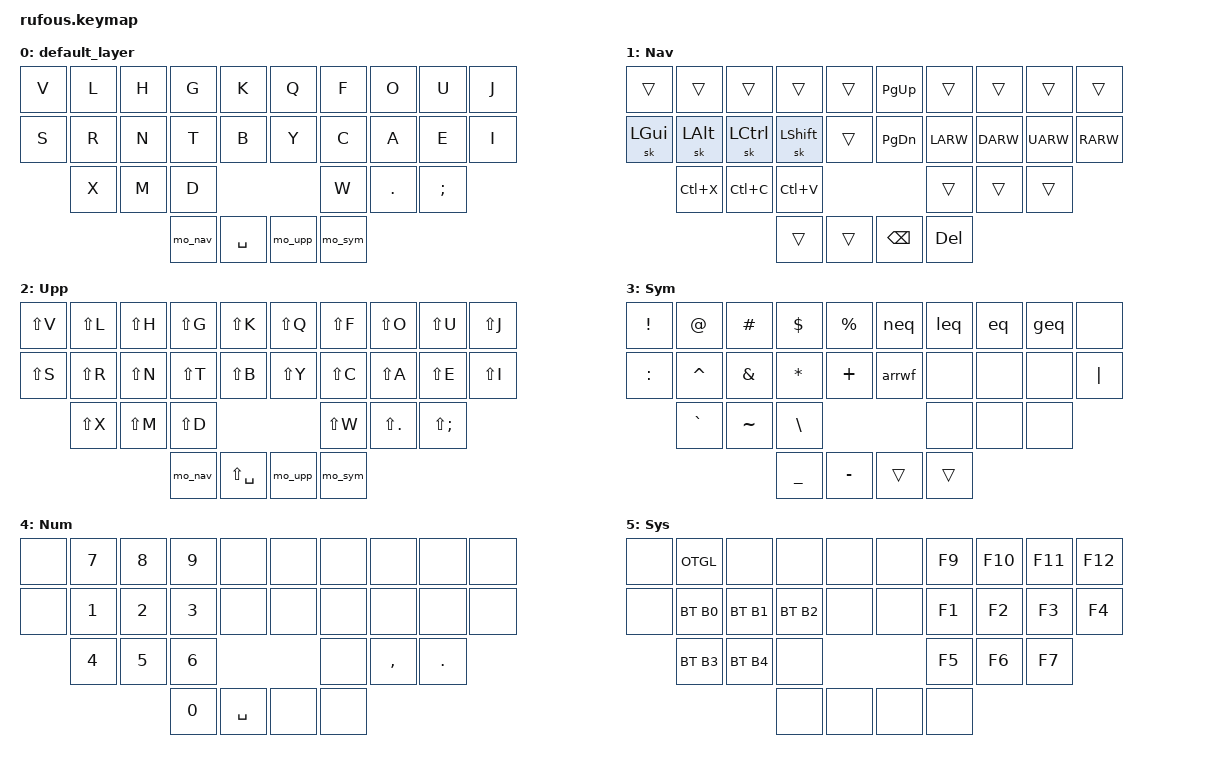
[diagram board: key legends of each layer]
/*
 * Copyright (c) 2020 The ZMK Contributors
 *
 * SPDX-License-Identifier: MIT
 */

#include <behaviors.dtsi>
#include <dt-bindings/zmk/bt.h>
#include <dt-bindings/zmk/ext_power.h>
#include <dt-bindings/zmk/keys.h>
#include <dt-bindings/zmk/outputs.h>

#define DEF_L 0
#define NAV_L 1
#define UPP_L 2
#define SYM_L 3
#define NUM_L 4
#define SYS_L 5

#define B0     BT_SEL 0
#define B1     BT_SEL 1
#define B2     BT_SEL 2
#define B3     BT_SEL 3
#define B4     BT_SEL 4
#define OTGL   out OUT_TOG

&caps_word {
  continue-list = <UNDERSCORE MINUS BACKSPACE>;
};

&sk {
  release-after-ms = <60000>;
};

/ {
    ZMK_MACRO(mo_nav,
        wait-ms = <0>;
        tap-ms = <0>;
        bindings
        = <&macro_tap &kp K_CANCEL>
        , <&macro_press &mo NAV_L>
        , <&macro_pause_for_release>
        , <&macro_release &mo NAV_L>;)

    ZMK_MACRO(mo_upp,
        wait-ms = <0>;
        tap-ms = <0>;
        bindings
        = <&macro_tap &kp K_CANCEL>
        , <&macro_press &mo UPP_L>
        , <&macro_pause_for_release>
        , <&macro_release &mo UPP_L>;)

    ZMK_MACRO(mo_sym,
        wait-ms = <0>;
        tap-ms = <0>;
        bindings
        = <&macro_tap &kp K_CANCEL>
        , <&macro_press &mo SYM_L>
        , <&macro_pause_for_release>
        , <&macro_release &mo SYM_L>;)

    ZMK_MACRO(mo_sys,
        wait-ms = <0>;
        tap-ms = <0>;
        bindings
        = <&macro_tap &kp K_CANCEL>
        , <&macro_press &mo SYS_L>
        , <&macro_pause_for_release>
        , <&macro_release &mo SYS_L>;)

    ZMK_MACRO(leq,
        wait-ms = <30>;
        tap-ms = <40>;
        bindings = <&kp LT &kp EQUAL>;)

    ZMK_MACRO(eq,
        wait-ms = <30>;
        tap-ms = <40>;
        bindings = <&kp EQUAL &kp EQUAL>;)

    ZMK_MACRO(geq,
        wait-ms = <30>;
        tap-ms = <40>;
        bindings = <&kp GT &kp EQUAL>;)

    ZMK_MACRO(neq,
        wait-ms = <30>;
        tap-ms = <40>;
        bindings = <&kp EXCL &kp EQUAL>;)

    ZMK_MACRO(arrwf,
        wait-ms = <30>;
        tap-ms = <40>;
        bindings = <&kp EQUAL &kp GT>;)

    ZMK_MACRO(wclip,
        wait-ms = <30>;
        tap-ms = <40>;
        bindings
        = <&macro_press &kp LGUI>
        , <&macro_press &kp LSHFT>
        , <&macro_press &kp S>
        , <&macro_release &kp LGUI &kp LSHFT &kp S>;)

    combos {
        compatible = "zmk,combos";

        #define COMBO(NAME, BINDINGS, KEYPOS, LAYERS) \
          combo_##NAME { \
            bindings = <BINDINGS>; \
            key-positions = <KEYPOS>; \
            layers = <LAYERS>; \
          };
        /*                KEY POSITIONS

          ╭────────────────────╮ ╭────────────────────╮
          │  0   1   2   3   4 | |  5   6   7   8   9 │
          │ 10  11  12  13  14 │ │ 15  16  17  18  19 │
          │     20  21  22     │ │     23  24  25     │
          ╰───────────╮ 26  27 │ │ 28  89 ╭───────────╯
                      ╰────────╯ ╰────────╯            */
        // Letters
        COMBO(lower_z, &kp Z, 20 21, DEF_L)
        COMBO(upper_z, &kp LS(Z), 20 21, UPP_L)

        COMBO(lower_p, &kp P, 21 22, DEF_L)
        COMBO(upper_p, &kp LS(P), 21 22, UPP_L)

        COMBO(lower_sqt, &kp SQT, 23 24, DEF_L)
        COMBO(upper_sqt, &kp LS(SQT), 23 24, UPP_L)

        COMBO(lower_comma, &kp COMMA, 24 25, DEF_L)
        COMBO(upper_comma, &kp LS(COMMA), 24 25, UPP_L)

        COMBO(equal, &kp EQUAL, 21 22, SYM_L)

        COMBO(f_eight, &kp F8, 24 25, SYS_L)

        // Brackets
        COMBO(left_bracket, &kp LBKT, 1 11, DEF_L UPP_L SYM_L NUM_L)
        COMBO(right_bracket, &kp RBKT, 8 18, DEF_L UPP_L SYM_L NUM_L)
        COMBO(left_parenthesis, &kp LPAR, 2 12, DEF_L UPP_L SYM_L NUM_L)
        COMBO(right_parenthesis, &kp RPAR, 7 17, DEF_L UPP_L SYM_L NUM_L)
        COMBO(left_brace, &kp LBRC, 3 13, DEF_L UPP_L SYM_L NUM_L)
        COMBO(right_brace, &kp RBRC, 6 16, DEF_L UPP_L SYM_L NUM_L)

        // Convenience
        COMBO(esc, &kp ESC, 2 3, DEF_L)
        COMBO(ent, &kp ENTER, 17 18, DEF_L)
        COMBO(tab, &kp TAB, 13 14, DEF_L)
        COMBO(w_clip, &wclip, 11 12 13, DEF_L)

        COMBO(sys_l, &mo_sys, 26 27, NUM_L)
    };

    conditional_layers {
        compatible = "zmk,conditional-layers";
        tri_layer {
            if-layers = <UPP_L SYM_L>;
            then-layer = <NUM_L>;
        };
    };

    keymap {
        compatible = "zmk,keymap";

        default_layer {
            bindings = <
        // ╭─────────────┬─────────────┬─────────────┬─────────────┬─────────────╮   ╭─────────────┬─────────────┬─────────────┬─────────────┬─────────────╮
             &kp V         &kp L         &kp H         &kp G         &kp K             &kp Q         &kp F         &kp O         &kp U         &kp J
             &kp S         &kp R         &kp N         &kp T         &kp B             &kp Y         &kp C         &kp A         &kp E         &kp I
                           &kp X         &kp M         &kp D                                         &kp W         &kp DOT       &kp SEMI
        // ╰─────────────┴─────────────┴─────────────╮                                                           ╭─────────────┴─────────────┴─────────────╯
                                                       &mo_nav       &kp SPACE         &mo_upp       &mo_sym
        //                                           ╰─────────────┴─────────────╯   ╰─────────────┴─────────────╯
            >;
        };

        nav_layer {
            label = "Nav";
            bindings = <
        // ╭─────────────┬─────────────┬─────────────┬─────────────┬─────────────╮   ╭─────────────┬─────────────┬─────────────┬─────────────┬─────────────╮
             &trans        &trans        &trans        &trans        &trans            &kp PG_UP     &trans        &trans        &trans        &trans
             &sk LGUI      &sk LALT      &sk LCTRL     &sk LSHFT     &trans            &kp PG_DN     &kp LARW      &kp DARW      &kp UARW      &kp RARW
                           &kp LC(X)     &kp LC(C)     &kp LC(V)                                     &trans        &trans        &trans
        // ╰─────────────┴─────────────┴─────────────╮                                                           ╭─────────────┴─────────────┴─────────────╯
                                                       &trans        &trans            &kp BSPC      &kp DEL
        //                                           ╰─────────────┴─────────────╯   ╰─────────────┴─────────────╯
            >;
        };

        upper_layer {
            label = "Upp";
            bindings = <
        // ╭─────────────┬─────────────┬─────────────┬─────────────┬─────────────╮   ╭─────────────┬─────────────┬─────────────┬─────────────┬─────────────╮
             &kp LS(V)     &kp LS(L)     &kp LS(H)     &kp LS(G)     &kp LS(K)         &kp LS(Q)     &kp LS(F)     &kp LS(O)     &kp LS(U)     &kp LS(J)
             &kp LS(S)     &kp LS(R)     &kp LS(N)     &kp LS(T)     &kp LS(B)         &kp LS(Y)     &kp LS(C)     &kp LS(A)     &kp LS(E)     &kp LS(I)
                           &kp LS(X)     &kp LS(M)     &kp LS(D)                                     &kp LS(W)     &kp LS(DOT)   &kp LS(SEMI)
        // ╰─────────────┴─────────────┴─────────────╮                                                           ╭─────────────┴─────────────┴─────────────╯
                                                       &mo_nav       &kp LS(SPACE)         &mo_upp       &mo_sym
        //                                           ╰─────────────┴─────────────╯   ╰─────────────┴─────────────╯
            >;
        };

        sym_layer {
            label = "Sym";
            bindings = <
        // ╭─────────────┬─────────────┬─────────────┬─────────────┬─────────────╮   ╭─────────────┬─────────────┬─────────────┬─────────────┬─────────────╮
             &kp EXCL      &kp AT        &kp HASH      &kp DLLR      &kp PRCNT         &neq          &leq          &eq           &geq          &none
             &kp COLON     &kp CARET     &kp AMPS      &kp STAR      &kp PLUS          &arrwf        &none         &none         &none         &kp PIPE
                           &kp GRAVE     &kp TILDE     &kp BSLH                                      &none         &none         &none
        // ╰─────────────┴─────────────┴─────────────╮                                                           ╭─────────────┴─────────────┴─────────────╯
                                                       &kp UNDER     &kp MINUS         &trans        &trans
        //                                           ╰─────────────┴─────────────╯   ╰─────────────┴─────────────╯
            >;
        };

        num_layer {
            label = "Num";
            bindings = <
        // ╭─────────────┬─────────────┬─────────────┬─────────────┬─────────────╮   ╭─────────────┬─────────────┬─────────────┬─────────────┬─────────────╮
             &none         &kp N7        &kp N8        &kp N9        &none             &none         &none         &none         &none         &none
             &none         &kp N1        &kp N2        &kp N3        &none             &none         &none         &none         &none         &none
                           &kp N4        &kp N5        &kp N6                                        &none         &kp COMMA     &kp DOT
        // ╰─────────────┴─────────────┴─────────────╮                                                           ╭─────────────┴─────────────┴─────────────╯
                                                       &kp N0        &kp SPACE         &none         &none
        //                                           ╰─────────────┴─────────────╯   ╰─────────────┴─────────────╯
            >;
        };

        sys_layer {
            label = "Sys";
            bindings = <
        // ╭─────────────┬─────────────┬─────────────┬─────────────┬─────────────╮   ╭─────────────┬─────────────┬─────────────┬─────────────┬─────────────╮
             &none         &OTGL         &none         &none         &none             &none         &kp F9        &kp F10       &kp F11       &kp F12
             &none         &bt B0        &bt B1        &bt B2        &none             &none         &kp F1        &kp F2        &kp F3        &kp F4
                           &bt B3        &bt B4        &none                                         &kp F5        &kp F6        &kp F7
        // ╰─────────────┴─────────────┴─────────────╮                                                           ╭─────────────┴─────────────┴─────────────╯
                                                       &none         &none             &none         &none
        //                                           ╰─────────────┴─────────────╯   ╰─────────────┴─────────────╯
            >;
        };
    };
};
